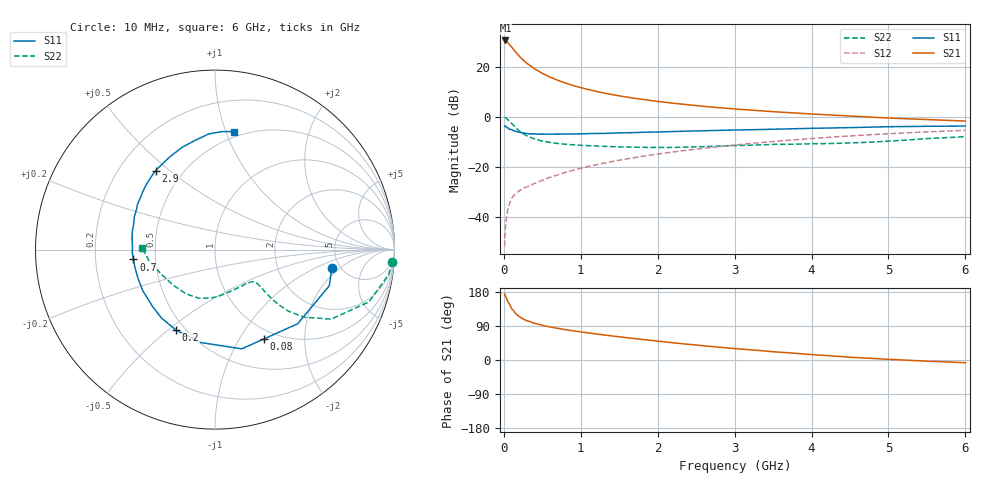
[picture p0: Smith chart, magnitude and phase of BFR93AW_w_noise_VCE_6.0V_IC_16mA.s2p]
! Infineon Technologies  Discrete & RF Semiconductors
! BFR93AW
! VCE =  6.0 V,  IC =  16 mA
! Common Emitter S-Parameters:  Jan 2017
# GHz  S  MA  R  50
!  f  S11  S21  S12  S22
! GHz  MAG  ANG  MAG  ANG  MAG  ANG  MAG  ANG
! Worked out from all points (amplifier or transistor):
!   77 points, 10 MHz to 6 GHz, reference 50 ohm
!   highest |S21| = 30.8 dB at 20 MHz (marker M1)
!   |S21| within 3 dB of that: start of sweep to 110.7 MHz
!   unconditionally stable (mu >= 1): 750.2 MHz to 2.054 GHz
!   at 130 MHz: K = 0.39, MSG = 29.2 dB, |S12| = -31.4 dB
!   at 2.2 GHz: K = 0.99, MSG = 9.8 dB, |S12| = -13.9 dB
!   at 6 GHz: K = 0.87, MSG = 1.9 dB, |S12| = -5.3 dB
!   lowest NFmin = 1.41 dB at 450 MHz
!   S11 on the Smith chart (normalised r, x): 10 MHz: 4.30, -1.53; 80 MHz: 0.87, -1.28; 200 MHz: 0.45, -0.54; 700 MHz: 0.37, -0.05; 2.9 GHz: 0.36, +0.45; 6 GHz: 0.45, +1.06
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0.01  0.6594 -8.8  34.47 174.4  0.0026 88.1  0.9884 -3.9
0.02  0.6678 -17.6  34.58 169.3  0.006 86.2  0.9779 -8.1
0.05  0.6188 -41.9  31.56 154.7  0.0138 71.1  0.9064 -18.7
0.08  0.5675 -61.2  27.65 144.4  0.0196 64.8  0.8105 -25.5
0.1  0.5727 -74.9  25.67 135.9  0.0236 62.3  0.7542 -30.9
0.15  0.5239 -98.8  20.55 123.3  0.0293 56.9  0.6235 -37.2
0.2  0.4988 -115.6  16.76 114.7  0.0335 55.9  0.5323 -40.0
0.25  0.4839 -128.1  14.06 108.2  0.0376 55.1  0.4683 -40.9
0.3  0.4708 -137.4  12.01 103.7  0.0402 55.8  0.4222 -40.9
0.4  0.4632 -150.6  9.32 96.7  0.047 58.5  0.3659 -40.2
0.5  0.4578 -160.1  7.566 91.5  0.0545 60.4  0.3328 -39.4
0.6  0.4568 -167.4  6.377 87.2  0.0624 62.0  0.3119 -38.9
0.7  0.458 -173.1  5.501 83.6  0.0697 64.1  0.2976 -38.7
0.9  0.46 177.5  4.319 77.0  0.0862 65.9  0.2799 -39.9
1.1  0.4689 169.9  3.581 71.5  0.103 66.7  0.2689 -42.3
1.5  0.4853 157.8  2.68 61.2  0.1373 66.6  0.2539 -50.0
2.1  0.5107 143.2  1.991 47.7  0.192 64.2  0.2477 -67.0
2.9  0.5493 127.0  1.508 32.0  0.2676 58.5  0.2669 -91.8
3.1  0.5571 123.1  1.429 28.6  0.2868 56.8  0.2722 -97.5
4.1  0.6028 106.0  1.14 12.9  0.3838 46.9  0.2947 -126.4
5.1  0.6475 91.7  0.949 0.8  0.4752 35.7  0.3383 -159.7
6  0.6658 81.0  0.838 -7.1  0.5453 25.2  0.408 178.4
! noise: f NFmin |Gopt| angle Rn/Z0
0.45  1.41  0.12  146  0.13
0.9  1.69  0.23  168  0.14
1.9  2.69  0.47  -141  0.21
2.4  3.31  0.54  -127  0.41
